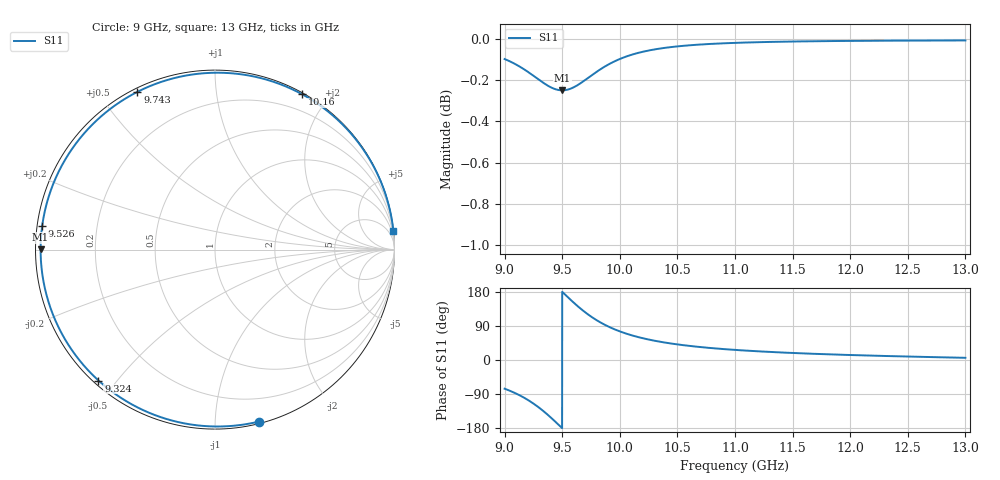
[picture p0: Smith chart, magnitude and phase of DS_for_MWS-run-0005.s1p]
! TOUCHSTONE file generated by CST DESIGN STUDIO
! Date and time: Tue Feb  4 12:31:07 2025
! Project name: C:\Work\MatlabApps\UnitCellOptimizationMatlab\CST\unitcell.cst
! Tree item: Tasks\Sweep1\SPara1\S-Parameters
! Header version: 2024
! Port assignment regex: !\s*Touchstone port\s*([0-9]+)\s*=\s*(CST MWS port|CST DES external port|CST DES block port)\s*(.+)\s* \(\"(.*)\"\)(\s*mode\s*([0-9]+))?.*
! Touchstone port assignment:
! Touchstone port 1 = CST DES external port 1 ("")
# GHz S MA R 50
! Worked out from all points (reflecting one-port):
!   4001 points, 9 GHz to 13 GHz, reference 50 ohm
!   lowest |S11| = -0.2 dB at 9.5 GHz (marker M1), VSWR 69.77, Z = 0.717 + j0.0366 ohm
!   phase of S11 starts at -76 deg and turns -278 deg over the sweep
!   S11 on the Smith chart (normalised r, x): 9 GHz: 0.01, -1.29; 9.324 GHz: 0.01, -0.45; 9.526 GHz: 0.01, +0.07; 9.743 GHz: 0.01, +0.62; 10.16 GHz: 0.02, +1.71; 13 GHz: 0, +20
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9  0.9889 -75.7
9.085  0.9864 -86.4
9.187  0.9825 -102.7
9.258  0.9794 -116.6
9.324  0.9764 -131.7
9.371  0.9744 -143.6
9.42  0.9728 -157.0
9.461  0.972 -168.7
9.5  0.9717 179.9
9.526  0.9719 172.3
9.579  0.9728 157.1
9.639  0.9748 140.8
9.69  0.977 128.1
9.743  0.9794 116.2
9.796  0.9818 105.6
9.854  0.9842 95.4
9.926  0.9867 84.7
10  0.9889 75.5
10.076  0.9907 67.7
10.157  0.9923 60.7
10.313  0.9944 50.2
10.5  0.9959 41.2
10.722  0.9971 33.5
11  0.9979 26.6
11.5  0.9987 18.5
12  0.999 13.2
12.5  0.9992 9.1
13  0.9992 5.8
